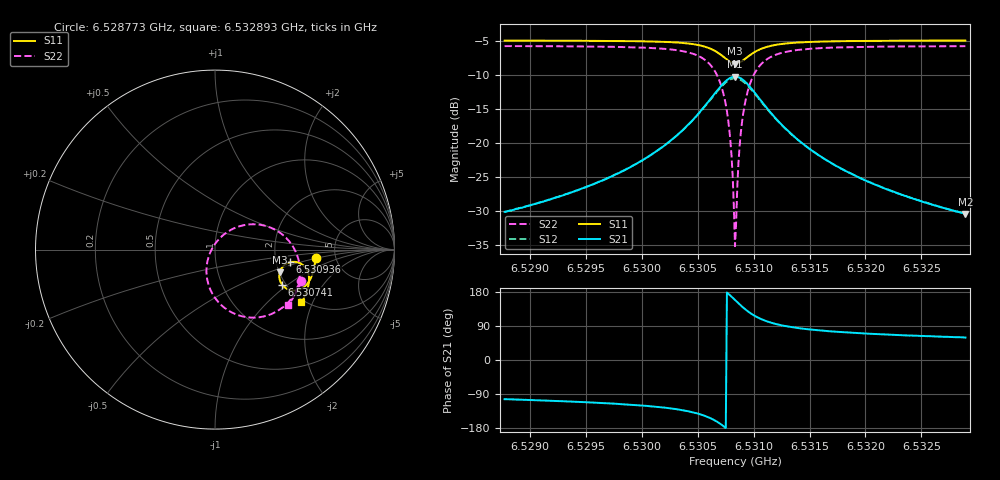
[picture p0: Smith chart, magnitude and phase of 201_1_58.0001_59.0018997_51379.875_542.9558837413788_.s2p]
#  HZ  S  RI  R  50.00
! Rohde & Schwarz Vector Network Analyzer
! Rohde-Schwarz,ZNB20-2Port,1311601062101988,3.16
! Created: UTC 3/21/2024, 12:59:14 AM
! freq[Hz]  re:S11  im:S11  re:S21  im:S21  re:S12  im:S12  re:S22  im:S22
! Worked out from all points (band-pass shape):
!   401 points, 6.528773 GHz to 6.532893 GHz, reference 50 ohm
!   highest |S21| = -10.27 dB at 6.530833 GHz (marker M1); lowest = -30.4 dB at 6.532893 GHz (marker M2)
!   |S21| within 3 dB of the highest: 6.530628 GHz to 6.53104 GHz (412.1 kHz wide, 0.00631 % of centre)
!   lowest |S11| = -8.3 dB at 6.530833 GHz (marker M3), VSWR 2.24, Z = 101 - j29.7 ohm
!   |S11| at or under -10 dB: nowhere
!   |S22| runs from -35.1 to -5.8 dB; largest |S21 - S12| = 0.012
!   S11 on the Smith chart (normalised r, x): 6.528773 GHz: 3.49, -0.51; 6.530741 GHz: 1.91, -0.91; 6.530936 GHz: 2.37, -0.41; 6.532893 GHz: 1.92, -1.66
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6.5287734e9  0.5604 -0.0495  -0.00724 -0.0304  -0.00787 -0.0302  0.4815 -0.1776
6.5294635e9  0.5512 -0.1074  -0.0166 -0.0432  -0.0176 -0.0429  0.4499 -0.241
6.5301536e9  0.5241 -0.1767  -0.0502 -0.0742  -0.0523 -0.0727  0.3671 -0.3298
6.5303905e9  0.4977 -0.207  -0.0899 -0.0936  -0.0928 -0.0904  0.2862 -0.3687
6.5305656e9  0.4542 -0.2271  -0.1581 -0.1002  -0.1605 -0.0935  0.1599 -0.3735
6.5306686e9  0.4092 -0.2223  -0.2276 -0.0737  -0.2269 -0.0639  0.043 -0.3163
6.5307407e9  0.374 -0.1954  -0.279 -0.0153  -0.2733 -0.00514  -0.0319 -0.2081
6.5307819e9  0.3606 -0.1679  -0.2949 0.0378  -0.2859 0.046  -0.0478 -0.1173
6.5308025e9  0.3581 -0.1512  -0.2956 0.0677  -0.2851 0.0743  -0.0427 -0.068
6.5308231e9  0.3591 -0.1342  -0.2901 0.0983  -0.2792 0.103  -0.028 -0.0193
6.5308334e9  0.3611 -0.126  -0.2851 0.1131  -0.2739 0.1168  -0.0171 0.00395
6.5308437e9  0.3639 -0.1178  -0.2787 0.1272  -0.2676 0.13  -0.00384 0.026
6.530854e9  0.3674 -0.1101  -0.271 0.1409  -0.2599 0.1426  0.0114 0.0465
6.5308746e9  0.377 -0.096  -0.2519 0.1648  -0.2416 0.165  0.0471 0.0823
6.5308952e9  0.3887 -0.0847  -0.2296 0.1842  -0.2202 0.1828  0.0875 0.1094
6.5309364e9  0.4155 -0.071  -0.1808 0.2075  -0.1738 0.2043  0.1723 0.1383
6.5310085e9  0.4584 -0.0704  -0.1055 0.2094  -0.1017 0.2064  0.2987 0.1266
6.5311115e9  0.4964 -0.0922  -0.0406 0.1785  -0.0388 0.1768  0.4029 0.0582
6.531266e9  0.5184 -0.1279  -0.00139 0.132  -8.72e-05 0.1314  0.4597 -0.0373
6.5315235e9  0.524 -0.1715  0.0155 0.0863  0.0165 0.0859  0.473 -0.1346
6.5322136e9  0.5067 -0.2429  0.0176 0.0413  0.0184 0.0412  0.4436 -0.2504
6.5328934e9  0.4816 -0.2946  0.0154 0.0258  0.016 0.0259  0.4084 -0.3101
